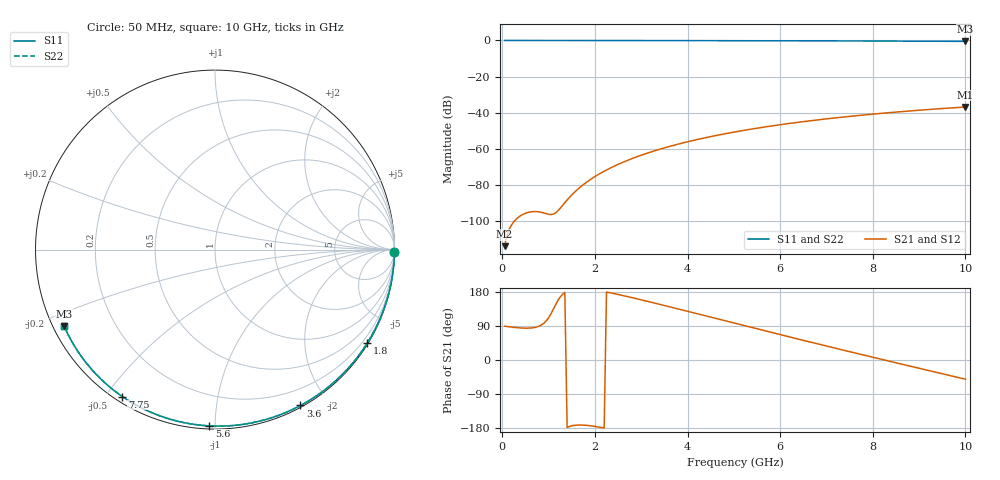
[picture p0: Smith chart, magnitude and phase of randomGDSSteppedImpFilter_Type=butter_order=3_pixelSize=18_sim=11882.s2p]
! freq	dB(S11)	phase(S11)	dB(S12)	phase(S12)
!  dB(S21)	phase(S21)	dB(S22)	phase(S22)
!S-par simulation data
#  GHz  S  DB  R 50
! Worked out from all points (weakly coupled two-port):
!   200 points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, 50 MHz to 10 GHz, reference 50 ohm
!   highest |S21| = -36.93 dB at 10 GHz (marker M1); lowest = -114.1 dB at 50 MHz (marker M2)
!   lowest |S11| = -0.5 dB at 10 GHz (marker M3), VSWR 33.71, Z = 1.57 - j12 ohm
!   |S11| at or under -10 dB: nowhere
!   |S22| runs from -0.5 to 0.0 dB; largest |S21 - S12| = 0
!   S11 on the Smith chart (normalised r, x): 50 MHz: open; 1.8 GHz: 0.03, -3.55; 3.6 GHz: 0.02, -1.69; 5.6 GHz: 0.02, -0.97; 7.75 GHz: 0.02, -0.55; 10 GHz: 0.03, -0.24
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0.05  -0.00 -0.9  -114.15 89.2  -114.15 89.2  -0.00 -0.9
0.45  -0.01 -8.0  -96.45 84.2  -96.45 84.2  -0.01 -8.0
0.9  -0.02 -15.9  -95.75 97.3  -95.75 97.3  -0.02 -15.9
1.3  -0.03 -22.9  -91.59 173.2  -91.59 173.2  -0.03 -22.9
1.75  -0.04 -30.6  -79.99 -171.8  -79.99 -171.8  -0.04 -30.6
1.8  -0.04 -31.5  -79.01 -172.2  -79.01 -172.2  -0.04 -31.5
1.95  -0.04 -34.0  -76.34 -174.3  -76.34 -174.3  -0.04 -34.0
2.1  -0.05 -36.6  -73.98 -177.2  -73.98 -177.2  -0.05 -36.6
2.3  -0.05 -39.9  -71.21 178.1  -71.21 178.1  -0.05 -39.9
2.5  -0.06 -43.3  -68.76 173.0  -68.76 173.0  -0.06 -43.3
2.9  -0.06 -49.9  -64.60 161.7  -64.60 161.7  -0.06 -49.9
3.4  -0.08 -58.1  -60.35 146.8  -60.35 146.8  -0.08 -58.1
3.6  -0.08 -61.3  -58.87 140.8  -58.87 140.8  -0.08 -61.3
4.3  -0.10 -72.3  -54.44 119.3  -54.44 119.3  -0.10 -72.3
5.05  -0.13 -83.7  -50.63 96.1  -50.63 96.1  -0.13 -83.7
5.6  -0.15 -91.9  -48.28 79.2  -48.28 79.2  -0.15 -91.9
6.15  -0.18 -99.8  -46.22 62.5  -46.22 62.5  -0.18 -99.9
6.7  -0.21 -107.7  -44.41 45.8  -44.41 45.8  -0.21 -107.7
7.75  -0.28 -122.3  -41.49 14.6  -41.49 14.6  -0.28 -122.3
8.35  -0.33 -130.5  -40.07 -3.0  -40.07 -3.0  -0.33 -130.5
9.2  -0.42 -142.1  -38.32 -27.6  -38.32 -27.6  -0.42 -142.1
10  -0.52 -153.1  -36.93 -50.7  -36.93 -50.7  -0.52 -153.1
